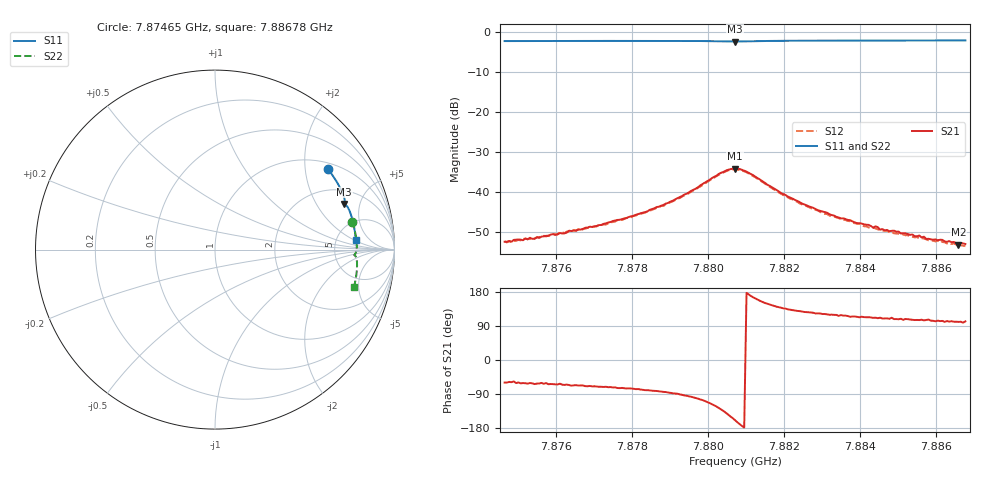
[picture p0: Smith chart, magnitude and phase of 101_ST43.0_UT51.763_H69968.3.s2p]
#  HZ  S  DB  R  50.00
! Rohde & Schwarz Vector Network Analyzer
! Rohde-Schwarz,ZNB20-2Port,1311601062101988,3.16
! Created: UTC 1/12/2023, 6:36:44 PM
! freq[Hz]  db:S11  ang:S11  db:S21  ang:S21  db:S12  ang:S12  db:S22  ang:S22
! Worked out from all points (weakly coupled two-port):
!   201 points, 7.87465 GHz to 7.88678 GHz, reference 50 ohm
!   highest |S21| = -34.18 dB at 7.88072 GHz (marker M1); lowest = -53.2 dB at 7.8866 GHz (marker M2)
!   lowest |S11| = -2.3 dB at 7.88072 GHz (marker M3), VSWR 7.45, Z = 146 + j178 ohm
!   |S11| at or under -10 dB: nowhere
!   |S22| runs from -2.2 to -1.9 dB; largest |S21 - S12| = 0.0014
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7.874652e9  -2.24 35.5  -52.48 -59.5  -52.40 -62.2  -2.14 11.5
7.874834e9  -2.24 35.0  -52.47 -58.6  -52.61 -63.1  -2.14 11.1
7.874894e9  -2.24 34.8  -52.02 -56.6  -52.27 -63.4  -2.14 10.9
7.875137e9  -2.23 34.1  -52.11 -60.8  -51.77 -62.4  -2.13 10.3
7.875319e9  -2.23 33.7  -51.49 -60.7  -51.82 -65.4  -2.12 9.9
7.87544e9  -2.23 33.3  -51.72 -63.5  -51.74 -65.7  -2.12 9.6
7.876714e9  -2.21 29.8  -49.25 -67.2  -49.36 -70.1  -2.08 6.6
7.877988e9  -2.18 26.4  -46.09 -75.2  -46.34 -78.6  -2.05 3.6
7.878716e9  -2.19 24.3  -43.72 -82.6  -43.80 -86.5  -2.05 1.9
7.879504e9  -2.20 22.1  -40.11 -95.8  -40.32 -99.0  -2.06 -0.1
7.880293e9  -2.30 20.0  -35.49 -126.6  -35.69 -130.1  -2.15 -1.9
7.880717e9  -2.34 19.4  -34.18 -158.8  -34.37 -162.3  -2.21 -2.2
7.88102e9  -2.31 19.1  -34.93 177.0  -35.09 173.7  -2.17 -2.3
7.881991e9  -2.17 16.7  -40.53 136.3  -40.81 132.6  -2.02 -4.3
7.882779e9  -2.14 14.5  -44.01 124.6  -44.26 120.0  -1.98 -6.2
7.883507e9  -2.12 12.5  -46.64 118.6  -46.77 114.4  -1.96 -7.8
7.884781e9  -2.10 9.1  -49.84 108.7  -50.07 106.8  -1.93 -10.7
7.885569e9  -2.09 7.1  -50.93 105.3  -51.62 101.8  -1.93 -12.4
7.885751e9  -2.09 6.6  -51.76 105.8  -51.88 101.0  -1.92 -12.8
7.886479e9  -2.09 4.7  -52.54 101.0  -52.83 98.3  -1.92 -14.4
7.886601e9  -2.08 4.4  -53.17 100.5  -53.07 97.7  -1.92 -14.7
7.886783e9  -2.08 3.9  -53.05 102.0  -53.59 99.2  -1.92 -15.1
